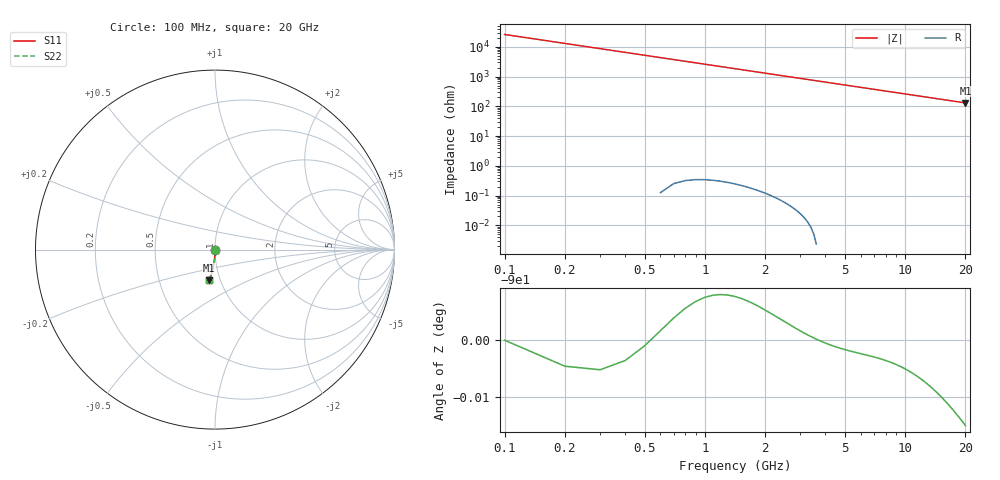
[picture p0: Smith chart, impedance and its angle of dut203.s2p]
! Touchstone file exported from HFSS 2026.1.0
!  File:  C:/ffzhzh/LocalFiles/Ansys_Project_Files/temp_train_TSV_203_1782991776_41620.aedt
!  Generated:  07:30:42 PM Jul  2, 2026
!  Design:  TSV
!  Project:  temp_train_TSV_203_1782991776_41620
! Variables:
!  h_bsmrdl = 2um
!  h_ox = 20um
!  h_rdl = 5um
!  h_sub = 64.54um
!  h_tmrdl = 5um
!  h_tsv = 64.54um
!  h_via = 3um
!  l_bsmrdl = 300um
!  l_sub = 420.98um
!  l_tmrdl = 200um
!  m_sub = 200um
!  pitch = 22.15um
!  r_tsv = 10.49um
!  s_tmrdl = 10um
!  w_bsmrdl = 18um
!  w_sub = 500um
!  w_tmrdl = 12um
!  x_tsv_center1 = 206um
!  x_tsv_center2 = 524um
!  x_tsv_center3 = 736um
!  x_tsv_center4 = 1054um
!  x_tsv_center5 = 1266um
!  x_tsv_center6 = 1584um
# GHz S MA R 50.000000
! Terminal data exported
! Port[1] = TSV1_1_T1
! Port[2] = TSV1_1_T2
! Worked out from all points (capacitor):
!   200 points, 100 MHz to 20 GHz, reference 50 ohm
!   read as one part in shunt: C = 61.1 fF near 200 MHz
!   lowest |Z| = 131 ohm at 20 GHz (marker M1)
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0.1  0.0008192 -81.3  0.9999 -0.1  0.9999 -0.1  0.0008192 -81.3
! Gamma 0 0 0 0
! Port Impedance 50 0 50 0
0.2  0.001634 -84.8  0.9998 -0.1  0.9998 -0.1  0.001634 -84.8
0.3  0.002465 -85.8  0.9998 -0.2  0.9998 -0.2  0.002465 -85.8
0.4  0.00331 -86.3  0.9998 -0.3  0.9998 -0.3  0.00331 -86.3
0.5  0.004166 -86.6  0.9997 -0.3  0.9997 -0.3  0.004166 -86.6
0.7  0.005901 -87.1  0.9996 -0.4  0.9996 -0.4  0.005901 -87.1
0.8  0.006774 -87.4  0.9996 -0.5  0.9996 -0.5  0.006774 -87.4
1  0.008526 -87.8  0.9995 -0.6  0.9995 -0.6  0.008526 -87.8
1.2  0.01028 -88.2  0.9995 -0.7  0.9995 -0.7  0.01028 -88.2
1.4  0.01203 -88.6  0.9994 -0.8  0.9994 -0.8  0.01203 -88.6
1.7  0.01466 -89.0  0.9994 -1.0  0.9994 -1.0  0.01466 -89.0
2  0.01729 -89.4  0.9993 -1.2  0.9993 -1.2  0.01729 -89.4
2.7  0.02342 -90.1  0.9991 -1.6  0.9991 -1.6  0.02342 -90.1
3.5  0.03044 -90.7  0.9988 -2.1  0.9988 -2.1  0.03044 -90.7
4.2  0.03658 -91.2  0.9985 -2.5  0.9985 -2.5  0.03658 -91.2
5  0.04361 -91.8  0.9981 -3.0  0.9981 -3.0  0.04361 -91.8
6.8  0.05944 -93.0  0.9971 -4.1  0.9971 -4.1  0.05944 -93.0
8.3  0.07261 -94.0  0.9961 -4.9  0.9961 -4.9  0.07261 -94.0
10.1  0.08837 -95.1  0.9947 -6.0  0.9947 -6.0  0.08837 -95.1
13.4  0.1171 -97.1  0.9915 -7.9  0.9915 -7.9  0.1171 -97.1
16.7  0.1455 -99.1  0.9875 -9.8  0.9875 -9.8  0.1455 -99.1
20  0.1735 -101.1  0.9828 -11.7  0.9828 -11.7  0.1735 -101.1
